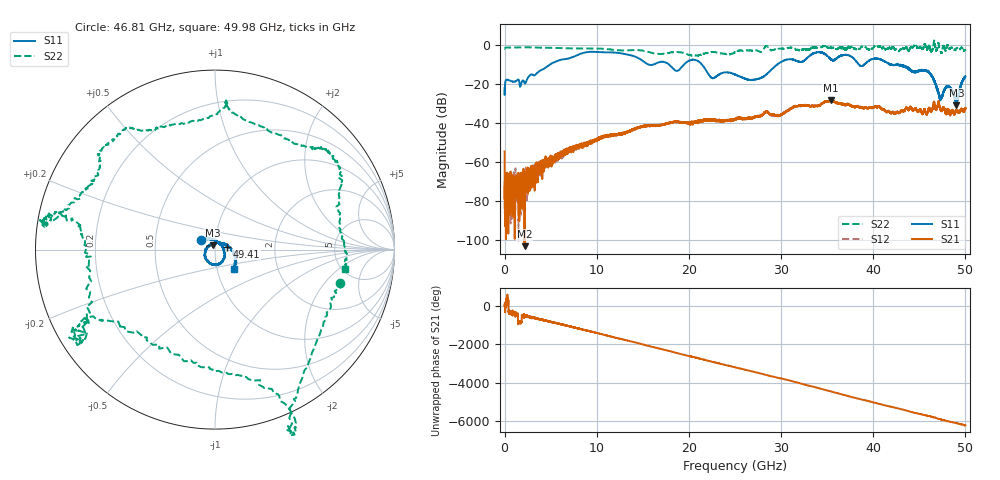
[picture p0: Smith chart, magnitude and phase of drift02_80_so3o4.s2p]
!Created with skrf (http://scikit-rf.org).
# Hz S RI R 50.0
!freq ReS11 ImS11 ReS21 ImS21 ReS12 ImS12 ReS22 ImS22
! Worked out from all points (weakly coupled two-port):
!   10001 points, 300 kHz to 50 GHz, reference 50 ohm
!   highest |S21| = -28.51 dB at 35.39 GHz (marker M1); lowest = -103.4 dB at 2.16 GHz (marker M2)
!   lowest |S11| = -31.1 dB at 49.02 GHz (marker M3), VSWR 1.06, Z = 48.6 + j2.38 ohm
!   |S11| at or under -10 dB: start of sweep to 4.955 GHz; 21.38 GHz to 29.62 GHz (8.241 GHz wide, 32.3 % of centre); 41.84 GHz to end of sweep (the widest 3 of 9)
!   |S22| runs from -5.7 to 2.2 dB; largest |S21 - S12| = 0.0035
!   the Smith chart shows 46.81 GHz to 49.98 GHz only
!   S11 on the Smith chart (normalised r, x): 46.81 GHz: 0.85, +0.09; 49.41 GHz: 1.15, +0.04; 49.98 GHz: 1.21, -0.27
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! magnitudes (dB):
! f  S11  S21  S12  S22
! 300 kHz  -22.2  -54.8  -70.0  -2.1
! 260.3 MHz  -17.9  -75.0  -84.2  -1.4
! 2.16 GHz  -19.7  -103.4  -70.9  -1.3
! 8.335 GHz  -4.5  -51.7  -52.2  -1.9
! 16.67 GHz  -9.1  -41.5  -41.5  -4.7
! 18.7 GHz  -13.4  -39.4  -39.7  -3.7
! 20.6 GHz  -7.7  -39.6  -39.8  -5.7
! 22.51 GHz  -17.1  -38.4  -38.8  -3.7
! 25 GHz  -15.2  -38.4  -38.3  -3.9
! 27.47 GHz  -17.6  -36.6  -36.8  -3.2
! 30.23 GHz  -8.3  -35.5  -35.1  -2.0
! 33.34 GHz  -4.9  -31.2  -31.3  -1.5
! 35.39 GHz  -7.4  -28.5  -28.6  -1.3
! 41.67 GHz  -9.6  -34.1  -34.2  -1.9
! 45.8 GHz  -13.6  -35.3  -35.3  -2.4
! 46.81 GHz  -20.8  -33.2  -33.3  -2.8
! 47.28 GHz  -27.7  -33.0  -33.2  -3.3
! 48.14 GHz  -21.3  -33.0  -33.0  -0.9
! 49.02 GHz  -31.1  -33.5  -33.9  -2.0
! 49.41 GHz  -22.9  -34.3  -34.6  -2.3
! 49.98 GHz  -16.3  -32.3  -33.0  -2.7
! 50 GHz  -16.3  -32.5  -32.5  -2.7
